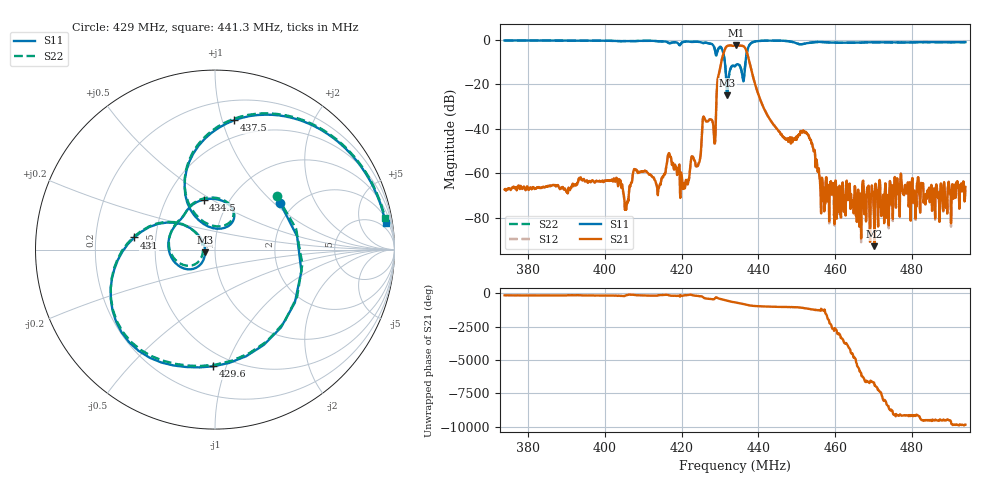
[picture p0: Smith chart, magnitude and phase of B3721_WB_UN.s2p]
! S-Parameter for B3721 in Touchstone format with Magnitude (lin) and Phase
! Normalised impedance: 50 Ohm. Measurement system: 50 Ohm. Ta=25°C
! B3721_SB.S2P not matched. Measurement full 2-port calibrated incl. Port.Ext.
! Start: 373.92MHz, Stop: 493.92MHz, Span 120MHz, 1601 Pts., Step 750kHz
! Date: 07/12/2007 - EPCOS COM WT AE PD; AB
# MHZ S MA R 50
! freq  magS11 angS11  magS21 angS21  magS12 angS12  magS22 angS22
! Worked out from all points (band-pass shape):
!   1601 points, 373.9 MHz to 493.9 MHz, reference 50 ohm
!   highest |S21| = -2.33 dB at 434.1 MHz (marker M1); lowest = -92.8 dB at 470.2 MHz (marker M2)
!   |S21| within 3 dB of the highest: 431.1 MHz to 437 MHz (5.911 MHz wide, 1.36 % of centre)
!   lowest |S11| = -24.9 dB at 431.9 MHz (marker M3), VSWR 1.12, Z = 44.8 - j1.34 ohm
!   |S11| at or under -10 dB: 431.3 MHz to 436.6 MHz (5.366 MHz wide, 1.24 % of centre)
!   |S22| runs from -23.5 to -0.2 dB; largest |S21 - S12| = 0.0014
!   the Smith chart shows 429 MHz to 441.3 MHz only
!   S11 on the Smith chart (normalised r, x): 429 MHz: 1.69, +1.10; 429.6 MHz: 0.40, -0.90; 431 MHz: 0.38, +0.06; 434.5 MHz: 0.76, +0.46; 437.5 MHz: 0.36, +1.09; 441.3 MHz: 3, +12
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373.92  0.977 -50.3  0.0004284 -142.4  0.0004266 -143.8  0.975 -49.6
393.945  0.9613 -56.7  0.0007245 -149.6  0.0007099 -149.4  0.9623 -56.2
413.97  0.932 -74.3  0.0004743 -133.7  0.0004751 -131.4  0.9337 -73.7
416.82  0.8383 -79.6  0.002802 -146.5  0.002795 -146.9  0.8548 -78.1
421.32  0.9252 -85.0  0.0006406 -135.4  0.0006435 -135.2  0.9199 -84.8
425.97  0.8684 -114.7  0.01722 7.6  0.01725 7.7  0.8628 -115.2
427.92  0.8136 -156.3  0.01571 -68.6  0.01573 -68.7  0.8132 -156.8
429.045  0.4461 35.7  0.03658 70.2  0.03644 70.2  0.456 40.9
429.645  0.6501 -90.7  0.1627 -19.3  0.1627 -19.2  0.6406 -89.6
430.995  0.4549 171.5  0.5183 -119.2  0.5181 -119.3  0.4565 170.8
431.895  0.05678 -164.7  0.7322 168.8  0.7318 168.8  0.06673 -176.9
433.92  0.2559 134.4  0.7541 50.0  0.7534 49.9  0.259 131.9
434.145  0.2705 124.3  0.7651 37.3  0.7642 37.3  0.2753 122.5
434.52  0.2854 102.8  0.7568 16.6  0.7559 16.6  0.2918 102.2
436.095  0.1168 83.5  0.7252 -73.3  0.7243 -73.3  0.13 84.5
437.52  0.7281 81.6  0.3626 -169.1  0.3613 -169.2  0.7321 82.4
441.27  0.9622 8.8  0.03116 104.6  0.03104 104.8  0.9631 10.4
453.945  0.8812 -27.3  0.004693 -115.4  0.004681 -115.3  0.8796 -26.1
456.795  0.8964 -32.8  0.0004715 169.8  0.0004723 169.8  0.8972 -31.6
470.22  0.8906 -38.7  2.278e-05 1.8  2.54e-05 -2.3  0.8881 -37.6
473.97  0.8837 -40.1  6.762e-05 45.2  5.768e-05 48.7  0.8829 -39.1
493.92  0.8986 -44.4  0.0004901 -127.3  0.0004853 -126.2  0.892 -43.6
